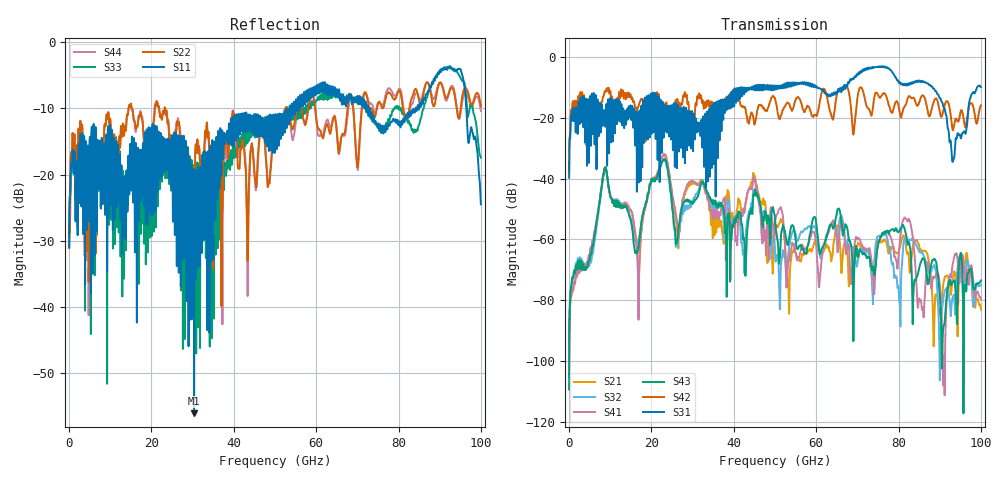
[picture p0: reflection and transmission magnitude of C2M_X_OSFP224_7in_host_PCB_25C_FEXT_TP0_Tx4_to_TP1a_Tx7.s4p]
# GHz S RI R 45
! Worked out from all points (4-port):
!   4000 points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, 25 MHz to 100 GHz, reference 45 ohm
!   strongest paths, dB at 25 MHz, 25.02 GHz, 50.02 GHz, 75.03 GHz, 100 GHz:
!     S31: -39.7, -16.2, -10.6, -3.3, -9.9
!     S42: -38.6, -21.8, -13.7, -12.6, -15.9
!     S43: -109.4, -49.1, -53.6, -62.0, -73.6
!     S41: -102.1, -45.1, -54.2, -61.6, -79.7
!     S32: -98.3, -50.1, -64.2, -59.0, -75.1
!     S21: -105.1, -46.0, -56.2, -60.5, -83.1
!   lowest |S11| = -56.0 dB at 30.38 GHz (marker M1), VSWR 1.00, Z = 45 - j0.136 ohm
!   |S11| at or under -10 dB: start of sweep to 53.52 GHz; 72.58 GHz to 84.12 GHz (11.55 GHz wide, 14.7 % of centre); 96.47 GHz to end of sweep (the widest 3 of 11)
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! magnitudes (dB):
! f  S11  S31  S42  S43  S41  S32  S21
! 25 MHz  -30.9  -39.7  -38.6  -109.4  -102.1  -98.3  -105.1
! 8.7 GHz  -23.2  -20.5  -11.2  -36.5  -36.4  -36.7  -36.6
! 16.8 GHz  -17.6  -20.2  -16.6  -63.4  -75.9  -61.1  -69.1
! 22.8 GHz  -15.5  -16.5  -16.7  -34.0  -32.3  -34.3  -32.6
! 30.38 GHz  -56.0  -19.1  -19.5  -47.8  -41.1  -46.3  -41.2
! 93.25 GHz  -4.3  -34.1  -24.1  -74.1  -67.6  -78.8  -72.2
! 100 GHz  -24.5  -9.9  -15.9  -73.6  -79.7  -75.1  -83.1
